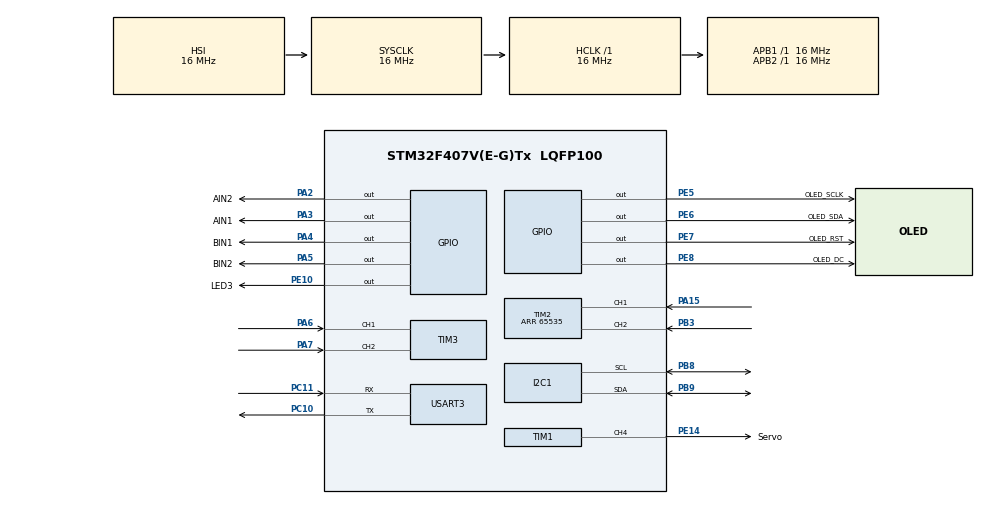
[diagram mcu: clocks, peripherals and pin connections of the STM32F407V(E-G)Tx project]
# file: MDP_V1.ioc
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FREERTOS.Queues01=chassisCommandQueue,100,uint32_t,0,Dynamic,NULL,NULL
FREERTOS.Tasks01=defaultTask,24,128,StartDefaultTask,Default,NULL,Dynamic,NULL,NULL;ChassisTask,24,512,chassisTask,Default,NULL,Dynamic,NULL,NULL
FREERTOS.configUSE_NEWLIB_REENTRANT=1
FREERTOS.configUSE_PREEMPTION=0
Mcu.Family=STM32F4
Mcu.Name=STM32F407V(E-G)Tx
Mcu.Package=LQFP100
NVIC.PriorityGroup=NVIC_PRIORITYGROUP_4
NVIC.TIM7_IRQn=true\:15\:0\:false\:false\:true\:false\:false\:true\:true
NVIC.TimeBase=TIM7_IRQn
NVIC.TimeBaseIP=TIM7
NVIC.USART3_IRQn=true\:5\:0\:false\:false\:true\:true\:true\:true\:true
PA15.Signal=S_TIM2_CH1_ETR
PA2.GPIO_Label=AIN2
PA2.GPIO_Speed=GPIO_SPEED_FREQ_HIGH
PA2.Signal=GPIO_Output
PA3.GPIO_Label=AIN1
PA3.GPIO_Speed=GPIO_SPEED_FREQ_HIGH
PA3.Signal=GPIO_Output
PA4.GPIO_Label=BIN1
PA4.GPIO_Speed=GPIO_SPEED_FREQ_HIGH
PA4.Signal=GPIO_Output
PA5.GPIO_Label=BIN2
PA5.GPIO_Speed=GPIO_SPEED_FREQ_HIGH
PA5.Signal=GPIO_Output
PA6.Signal=S_TIM3_CH1
PA7.Signal=S_TIM3_CH2
PB3.Signal=S_TIM2_CH2
PB8.Mode=I2C
PB8.Signal=I2C1_SCL
PB9.Mode=I2C
PB9.Signal=I2C1_SDA
PC10.GPIO_Speed=GPIO_SPEED_FREQ_HIGH
PC10.Mode=Asynchronous
PC10.Signal=USART3_TX
PC11.GPIO_ModeDefaultPP=GPIO_MODE_AF_PP
PC11.GPIO_PuPd=GPIO_PULLDOWN
PC11.GPIO_Speed=GPIO_SPEED_FREQ_HIGH
PC11.Mode=Asynchronous
PC11.Signal=USART3_RX
PC6.GPIO_Label=PWMA
PC6.Signal=S_TIM8_CH1
PC7.GPIO_Label=PWMB
PC7.Signal=S_TIM8_CH2
PE10.GPIO_Label=LED3
PE10.Signal=GPIO_Output
PE14.GPIO_Label=Servo
PE14.Signal=S_TIM1_CH4
PE5.GPIO_Label=OLED_SCLK
PE5.Signal=GPIO_Output
PE6.GPIO_Label=OLED_SDA
PE6.Signal=GPIO_Output
PE7.GPIO_Label=OLED_RST
PE7.Signal=GPIO_Output
PE8.GPIO_Label=OLED_DC
PE8.Signal=GPIO_Output
ProjectManager.HeapSize=0x200
ProjectManager.StackSize=0x400
ProjectManager.TargetToolchain=STM32CubeIDE
RCC.48MHZClocksFreq_Value=48000000
RCC.AHBFreq_Value=16000000
RCC.APB1Freq_Value=16000000
RCC.APB1TimFreq_Value=16000000
RCC.APB2Freq_Value=16000000
RCC.APB2TimFreq_Value=16000000
RCC.CortexFreq_Value=16000000
RCC.HCLKFreq_Value=16000000
RCC.HSE_VALUE=8000000
RCC.HSI_VALUE=16000000
RCC.LSE_VALUE=32768
RCC.SYSCLKFreq_VALUE=16000000
RCC.VCOOutputFreq_Value=192000000
SH.S_TIM1_CH4.0=TIM1_CH4,PWM Generation4 CH4
SH.S_TIM2_CH1_ETR.0=TIM2_CH1,Encoder_Interface
SH.S_TIM2_CH2.0=TIM2_CH2,Encoder_Interface
SH.S_TIM3_CH1.0=TIM3_CH1,Encoder_Interface
SH.S_TIM3_CH2.0=TIM3_CH2,Encoder_Interface
SH.S_TIM8_CH1.0=TIM8_CH1
SH.S_TIM8_CH2.0=TIM8_CH2
TIM1.AutoReloadPreload=TIM_AUTORELOAD_PRELOAD_ENABLE
TIM1.Channel-Input_Capture3_from_TI3=TIM_CHANNEL_3
TIM1.Channel-PWM\ Generation4\ CH4=TIM_CHANNEL_4
TIM1.Period=1000
TIM1.Prescaler=160
TIM2.EncoderMode=TIM_ENCODERMODE_TI12
TIM2.IC1Filter=10
TIM2.Period=65535
TIM3.EncoderMode=TIM_ENCODERMODE_TI12
TIM3.IC1Filter=10
TIM8.Channel-PWM\ Generation1\ No\ Output=TIM_CHANNEL_1
TIM8.Channel-PWM\ Generation2\ No\ Output=TIM_CHANNEL_2
TIM8.Period=7199
USART3.VirtualMode=VM_ASYNC
VP_FREERTOS_VS_CMSIS_V2.Mode=CMSIS_V2
VP_SYS_VS_tim7.Mode=TIM7
VP_TIM1_VS_ClockSourceINT.Mode=Internal
VP_TIM8_VS_ClockSourceINT.Mode=Internal
VP_TIM8_VS_no_output1.Mode=PWM Generation1 No Output
VP_TIM8_VS_no_output2.Mode=PWM Generation2 No Output
board=custom

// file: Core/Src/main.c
/* USER CODE BEGIN Header */
/**
 ******************************************************************************
 * @file           : main.c
 * @brief          : Main program body
 ******************************************************************************
 * @attention
 *
 * Copyright (c) 2023 STMicroelectronics.
 * All rights reserved.
 *
 * This software is licensed under terms that can be found in the LICENSE file
 * in the root directory of this software component.
 * If no LICENSE file comes with this software, it is provided AS-IS.
 *
 ******************************************************************************
 */
/* USER CODE END Header */
#include "main.h"
#include "cmsis_os.h"

/* USER CODE BEGIN Includes */
#include "oled.h"
#include "string.h"
#include "pid.h"
#include "ICM20948.h"
#include "stdio.h"
#include "stdlib.h"
/* USER CODE END Includes */

/* USER CODE BEGIN PD */
#define ALPHA 0.8
#define REAR_WHEEL_RADIUS_CM 3.3
#define REAR_WHEEL_ROTATION_DISTANCE (2 * 3.142 * REAR_WHEEL_RADIUS_CM)
#define ENCODER_PULSES_PER_ROTATION 1560
#define DISTANCE_PER_ENCODER_PULSE (REAR_WHEEL_ROTATION_DISTANCE / ENCODER_PULSES_PER_ROTATION)

////////// Steering Wheels ////////////////

#define CENTER_POS_PWM 153 //150
#define LEFT_DELTA 40  // was 40
#define RIGHT_DELTA 90 // was 80 then 100
#define STEERING_BUFFER_TIME 250
#define LEFT_POS_PWM (CENTER_POS_PWM - LEFT_DELTA)
#define RIGHT_POS_PWM (CENTER_POS_PWM + RIGHT_DELTA)

///////////// MOVEMENT COMMANDS ////////////
#define MOVE_FORWARD 1
#define MOVE_BACKWARD 2
#define MOVE_FORWARD_LEFT 3
#define MOVE_BACKWARD_LEFT 4
#define MOVE_FORWARD_RIGHT 5
#define MOVE_BACKWARD_RIGHT 6
#define CENTER_CALIBRATION 7
#define MOVE_INFINITELY 8
/* USER CODE END PD */

/* USER CODE BEGIN PM */
void setMotorForward();
void setMotorBackward();
void moveMotor(int);
void motorStop();
void turnLeft();
void turnRight();
void faceFront();
uint32_t getEncoderDelta(uint32_t count1, uint32_t count2,
		TIM_HandleTypeDef *hal_tim);
void commandToEncoderCounts(int directionCmd, int distanceCmd);
/* USER CODE END PM */

I2C_HandleTypeDef hi2c1;

TIM_HandleTypeDef htim1;
TIM_HandleTypeDef htim2;
TIM_HandleTypeDef htim3;
TIM_HandleTypeDef htim8;

UART_HandleTypeDef huart3;

/* Definitions for defaultTask */
osThreadId_t defaultTaskHandle;
const osThreadAttr_t defaultTask_attributes = { .name = "defaultTask",
		.stack_size = 128 * 4, .priority = (osPriority_t) osPriorityNormal, };
/* Definitions for ChassisTask */
osThreadId_t ChassisTaskHandle;
const osThreadAttr_t ChassisTask_attributes = { .name = "ChassisTask",
		.stack_size = 512 * 4, .priority = (osPriority_t) osPriorityNormal, };
/* Definitions for chassisCommandQueue */
osMessageQueueId_t chassisCommandQueueHandle;
const osMessageQueueAttr_t chassisCommandQueue_attributes = { .name =
		"chassisCommandQueue" };
/* USER CODE BEGIN PV */

///////////// TRANSMISSION AND COMMAND PROCESSING /////////////
uint8_t aRxBuffer[5]; // buffer for UART
uint8_t newCmdReceived;
uint8_t directionCmd;
uint8_t steeringCmd;
uint32_t data = 0;
uint8_t cmdFinishFlag;
////////////////////////////////////////

///////////// GYRO STEERING /////////////
float targetAngle = 0;
float angleNow = 0;
uint8_t readGyroZData[2];
int16_t gyroZ;
uint32_t last_curTask_tick = 0;

///////////// PID CONTROLLER /////////////
fp32 pid_param_right[3] = { 3.1, 0.0, 0.1 };
fp32 pid_param_turn[3] = { 10, 0.15, 0.3 }; // used for PID steering (not as accurate as Gyro but quicker)
fp32 max_out = 4000;
fp32 max_out_turn = 5000;
fp32 max_iout = 3000;
volatile double setpoint_left = 0;
volatile double output_left = 0;
volatile double input_left = 0;
volatile double setpoint_right = 0;
volatile double output_right = 0;
volatile double input_right = 0;

/* USER CODE END PV */

void SystemClock_Config(void);
static void MX_GPIO_Init(void);
static void MX_TIM8_Init(void);
static void MX_TIM1_Init(void);
static void MX_TIM2_Init(void);
static void MX_TIM3_Init(void);
static void MX_USART3_UART_Init(void);
static void MX_I2C1_Init(void);
void StartDefaultTask(void *argument);
void chassisTask(void *argument);

/* USER CODE BEGIN 0 */

////////////////////////////////////
// Create PID controllers
pid_type_def left_pid, right_pid;
pid_type_def left_turn_pid, right_turn_pid;

/* USER CODE END 0 */

int main(void) {

	/* MCU Configuration--------------------------------------------------------*/

	/* Reset of all peripherals, Initializes the Flash interface and the Systick. */
	HAL_Init();

	/* USER CODE BEGIN Init */
	OLED_Init();
	PID_init(&left_pid, PID_POSITION, pid_param_right, max_out, max_iout);
	PID_init(&right_pid, PID_POSITION, pid_param_right, max_out, max_iout);

	PID_init(&left_turn_pid, PID_POSITION, pid_param_turn, max_out_turn,
			max_iout);
	PID_init(&right_turn_pid, PID_POSITION, pid_param_turn, max_out_turn,
			max_iout);

	ICM20948_init(&hi2c1, 0, GYRO_FULL_SCALE_2000DPS);
	/* USER CODE END Init */

	/* Configure the system clock */
	SystemClock_Config();

	/* Initialize all configured peripherals */
	MX_GPIO_Init();
	MX_TIM8_Init();
	MX_TIM1_Init();
	MX_TIM2_Init();
	MX_TIM3_Init();
	MX_USART3_UART_Init();
	MX_I2C1_Init();
	/* USER CODE BEGIN 2 */
	OLED_Init();
	HAL_UART_Receive_IT(&huart3, (uint8_t*) aRxBuffer, 10);

	//start pwm
	//servo
	HAL_TIM_PWM_Start(&htim1, TIM_CHANNEL_4);

	// Left Motor Encoder
	HAL_TIM_Encoder_Start(&htim2, TIM_CHANNEL_ALL);
	// Right Motor Encoder
	HAL_TIM_Encoder_Start(&htim3, TIM_CHANNEL_ALL);

	// Set up the Motors PWM
	HAL_TIM_PWM_Start(&htim8, TIM_CHANNEL_1);
	HAL_TIM_PWM_Start(&htim8, TIM_CHANNEL_2);

	/* USER CODE END 2 */

	/* Init scheduler */
	osKernelInitialize();

	/* Create the queue(s) */
	/* creation of chassisCommandQueue */
	chassisCommandQueueHandle = osMessageQueueNew(100, sizeof(uint32_t),
			&chassisCommandQueue_attributes);

	/* Create the thread(s) */
	/* creation of defaultTask */
	defaultTaskHandle = osThreadNew(StartDefaultTask, NULL,
			&defaultTask_attributes);

	/* creation of ChassisTask */
	ChassisTaskHandle = osThreadNew(chassisTask, NULL, &ChassisTask_attributes);

	/* Start scheduler */
	osKernelStart();

	/* We should never get here as control is now taken by the scheduler */
	/* Infinite loop */
	while (1) {

	}
}

void SystemClock_Config(void) {
	RCC_OscInitTypeDef RCC_OscInitStruct = { 0 };
	RCC_ClkInitTypeDef RCC_ClkInitStruct = { 0 };

	/** Configure the main internal regulator output voltage
	 */
	__HAL_RCC_PWR_CLK_ENABLE();
	__HAL_PWR_VOLTAGESCALING_CONFIG(PWR_REGULATOR_VOLTAGE_SCALE1);

	/** Initializes the RCC Oscillators according to the specified parameters
	 * in the RCC_OscInitTypeDef structure.
	 */
	RCC_OscInitStruct.OscillatorType = RCC_OSCILLATORTYPE_HSI;
	RCC_OscInitStruct.HSIState = RCC_HSI_ON;
	RCC_OscInitStruct.HSICalibrationValue = RCC_HSICALIBRATION_DEFAULT;
	RCC_OscInitStruct.PLL.PLLState = RCC_PLL_NONE;
	if (HAL_RCC_OscConfig(&RCC_OscInitStruct) != HAL_OK) {
		Error_Handler();
	}

	/** Initializes the CPU, AHB and APB buses clocks
	 */
	RCC_ClkInitStruct.ClockType = RCC_CLOCKTYPE_HCLK | RCC_CLOCKTYPE_SYSCLK
			| RCC_CLOCKTYPE_PCLK1 | RCC_CLOCKTYPE_PCLK2;
	RCC_ClkInitStruct.SYSCLKSource = RCC_SYSCLKSOURCE_HSI;
	RCC_ClkInitStruct.AHBCLKDivider = RCC_SYSCLK_DIV1;
	RCC_ClkInitStruct.APB1CLKDivider = RCC_HCLK_DIV1;
	RCC_ClkInitStruct.APB2CLKDivider = RCC_HCLK_DIV1;

	if (HAL_RCC_ClockConfig(&RCC_ClkInitStruct, FLASH_LATENCY_0) != HAL_OK) {
		Error_Handler();
	}
}

static void MX_I2C1_Init(void) {

	hi2c1.Instance = I2C1;
	hi2c1.Init.ClockSpeed = 100000;
	hi2c1.Init.DutyCycle = I2C_DUTYCYCLE_2;
	hi2c1.Init.OwnAddress1 = 0;
	hi2c1.Init.AddressingMode = I2C_ADDRESSINGMODE_7BIT;
	hi2c1.Init.DualAddressMode = I2C_DUALADDRESS_DISABLE;
	hi2c1.Init.OwnAddress2 = 0;
	hi2c1.Init.GeneralCallMode = I2C_GENERALCALL_DISABLE;
	hi2c1.Init.NoStretchMode = I2C_NOSTRETCH_DISABLE;
	if (HAL_I2C_Init(&hi2c1) != HAL_OK) {
		Error_Handler();
	}

}

static void MX_TIM1_Init(void) {

	TIM_ClockConfigTypeDef sClockSourceConfig = { 0 };
	TIM_MasterConfigTypeDef sMasterConfig = { 0 };
	TIM_OC_InitTypeDef sConfigOC = { 0 };
	TIM_BreakDeadTimeConfigTypeDef sBreakDeadTimeConfig = { 0 };

	htim1.Instance = TIM1;
	htim1.Init.Prescaler = 160;
	htim1.Init.CounterMode = TIM_COUNTERMODE_UP;
	htim1.Init.Period = 1000;
	htim1.Init.ClockDivision = TIM_CLOCKDIVISION_DIV1;
	htim1.Init.RepetitionCounter = 0;
	htim1.Init.AutoReloadPreload = TIM_AUTORELOAD_PRELOAD_ENABLE;
	if (HAL_TIM_Base_Init(&htim1) != HAL_OK) {
		Error_Handler();
	}
	sClockSourceConfig.ClockSource = TIM_CLOCKSOURCE_INTERNAL;
	if (HAL_TIM_ConfigClockSource(&htim1, &sClockSourceConfig) != HAL_OK) {
		Error_Handler();
	}
	if (HAL_TIM_PWM_Init(&htim1) != HAL_OK) {
		Error_Handler();
	}
	sMasterConfig.MasterOutputTrigger = TIM_TRGO_RESET;
	sMasterConfig.MasterSlaveMode = TIM_MASTERSLAVEMODE_DISABLE;
	if (HAL_TIMEx_MasterConfigSynchronization(&htim1, &sMasterConfig)
			!= HAL_OK) {
		Error_Handler();
	}
	sConfigOC.OCMode = TIM_OCMODE_PWM1;
	sConfigOC.Pulse = 0;
	sConfigOC.OCPolarity = TIM_OCPOLARITY_HIGH;
	sConfigOC.OCFastMode = TIM_OCFAST_DISABLE;
	sConfigOC.OCIdleState = TIM_OCIDLESTATE_RESET;
	sConfigOC.OCNIdleState = TIM_OCNIDLESTATE_RESET;
	if (HAL_TIM_PWM_ConfigChannel(&htim1, &sConfigOC, TIM_CHANNEL_4)
			!= HAL_OK) {
		Error_Handler();
	}
	sBreakDeadTimeConfig.OffStateRunMode = TIM_OSSR_DISABLE;
	sBreakDeadTimeConfig.OffStateIDLEMode = TIM_OSSI_DISABLE;
	sBreakDeadTimeConfig.LockLevel = TIM_LOCKLEVEL_OFF;
	sBreakDeadTimeConfig.DeadTime = 0;
	sBreakDeadTimeConfig.BreakState = TIM_BREAK_DISABLE;
	sBreakDeadTimeConfig.BreakPolarity = TIM_BREAKPOLARITY_HIGH;
	sBreakDeadTimeConfig.AutomaticOutput = TIM_AUTOMATICOUTPUT_DISABLE;
	if (HAL_TIMEx_ConfigBreakDeadTime(&htim1, &sBreakDeadTimeConfig)
			!= HAL_OK) {
		Error_Handler();
	}
	HAL_TIM_MspPostInit(&htim1);

}

static void MX_TIM2_Init(void) {

	TIM_Encoder_InitTypeDef sConfig = { 0 };
	TIM_MasterConfigTypeDef sMasterConfig = { 0 };

	htim2.Instance = TIM2;
	htim2.Init.Prescaler = 0;
	htim2.Init.CounterMode = TIM_COUNTERMODE_UP;
	htim2.Init.Period = 65535;
	htim2.Init.ClockDivision = TIM_CLOCKDIVISION_DIV1;
	htim2.Init.AutoReloadPreload = TIM_AUTORELOAD_PRELOAD_DISABLE;
	sConfig.EncoderMode = TIM_ENCODERMODE_TI12;
	sConfig.IC1Polarity = TIM_ICPOLARITY_RISING;
	sConfig.IC1Selection = TIM_ICSELECTION_DIRECTTI;
	sConfig.IC1Prescaler = TIM_ICPSC_DIV1;
	sConfig.IC1Filter = 10;
	sConfig.IC2Polarity = TIM_ICPOLARITY_RISING;
	sConfig.IC2Selection = TIM_ICSELECTION_DIRECTTI;
	sConfig.IC2Prescaler = TIM_ICPSC_DIV1;
	sConfig.IC2Filter = 0;
	if (HAL_TIM_Encoder_Init(&htim2, &sConfig) != HAL_OK) {
		Error_Handler();
	}
	sMasterConfig.MasterOutputTrigger = TIM_TRGO_RESET;
	sMasterConfig.MasterSlaveMode = TIM_MASTERSLAVEMODE_DISABLE;
	if (HAL_TIMEx_MasterConfigSynchronization(&htim2, &sMasterConfig)
			!= HAL_OK) {
		Error_Handler();
	}

}

static void MX_TIM3_Init(void) {

	TIM_Encoder_InitTypeDef sConfig = { 0 };
	TIM_MasterConfigTypeDef sMasterConfig = { 0 };

	htim3.Instance = TIM3;
	htim3.Init.Prescaler = 0;
	htim3.Init.CounterMode = TIM_COUNTERMODE_UP;
	htim3.Init.Period = 65535;
	htim3.Init.ClockDivision = TIM_CLOCKDIVISION_DIV1;
	htim3.Init.AutoReloadPreload = TIM_AUTORELOAD_PRELOAD_DISABLE;
	sConfig.EncoderMode = TIM_ENCODERMODE_TI12;
	sConfig.IC1Polarity = TIM_ICPOLARITY_RISING;
	sConfig.IC1Selection = TIM_ICSELECTION_DIRECTTI;
	sConfig.IC1Prescaler = TIM_ICPSC_DIV1;
	sConfig.IC1Filter = 10;
	sConfig.IC2Polarity = TIM_ICPOLARITY_RISING;
	sConfig.IC2Selection = TIM_ICSELECTION_DIRECTTI;
	sConfig.IC2Prescaler = TIM_ICPSC_DIV1;
	sConfig.IC2Filter = 0;
	if (HAL_TIM_Encoder_Init(&htim3, &sConfig) != HAL_OK) {
		Error_Handler();
	}
	sMasterConfig.MasterOutputTrigger = TIM_TRGO_RESET;
	sMasterConfig.MasterSlaveMode = TIM_MASTERSLAVEMODE_DISABLE;
	if (HAL_TIMEx_MasterConfigSynchronization(&htim3, &sMasterConfig)
			!= HAL_OK) {
		Error_Handler();
	}

}

static void MX_TIM8_Init(void) {

	TIM_ClockConfigTypeDef sClockSourceConfig = { 0 };
	TIM_MasterConfigTypeDef sMasterConfig = { 0 };
	TIM_OC_InitTypeDef sConfigOC = { 0 };
	TIM_BreakDeadTimeConfigTypeDef sBreakDeadTimeConfig = { 0 };

	htim8.Instance = TIM8;
	htim8.Init.Prescaler = 0;
	htim8.Init.CounterMode = TIM_COUNTERMODE_UP;
	htim8.Init.Period = 7199;
	htim8.Init.ClockDivision = TIM_CLOCKDIVISION_DIV1;
	htim8.Init.RepetitionCounter = 0;
	htim8.Init.AutoReloadPreload = TIM_AUTORELOAD_PRELOAD_DISABLE;
	if (HAL_TIM_Base_Init(&htim8) != HAL_OK) {
		Error_Handler();
	}
	sClockSourceConfig.ClockSource = TIM_CLOCKSOURCE_INTERNAL;
	if (HAL_TIM_ConfigClockSource(&htim8, &sClockSourceConfig) != HAL_OK) {
		Error_Handler();
	}
	if (HAL_TIM_PWM_Init(&htim8) != HAL_OK) {
		Error_Handler();
	}
	sMasterConfig.MasterOutputTrigger = TIM_TRGO_RESET;
	sMasterConfig.MasterSlaveMode = TIM_MASTERSLAVEMODE_DISABLE;
	if (HAL_TIMEx_MasterConfigSynchronization(&htim8, &sMasterConfig)
			!= HAL_OK) {
		Error_Handler();
	}
	sConfigOC.OCMode = TIM_OCMODE_PWM1;
	sConfigOC.Pulse = 0;
	sConfigOC.OCPolarity = TIM_OCPOLARITY_HIGH;
	sConfigOC.OCNPolarity = TIM_OCNPOLARITY_HIGH;
	sConfigOC.OCFastMode = TIM_OCFAST_DISABLE;
	sConfigOC.OCIdleState = TIM_OCIDLESTATE_RESET;
	sConfigOC.OCNIdleState = TIM_OCNIDLESTATE_RESET;
	if (HAL_TIM_PWM_ConfigChannel(&htim8, &sConfigOC, TIM_CHANNEL_1)
			!= HAL_OK) {
		Error_Handler();
	}
	if (HAL_TIM_PWM_ConfigChannel(&htim8, &sConfigOC, TIM_CHANNEL_2)
			!= HAL_OK) {
		Error_Handler();
	}
	sBreakDeadTimeConfig.OffStateRunMode = TIM_OSSR_DISABLE;
	sBreakDeadTimeConfig.OffStateIDLEMode = TIM_OSSI_DISABLE;
	sBreakDeadTimeConfig.LockLevel = TIM_LOCKLEVEL_OFF;
	sBreakDeadTimeConfig.DeadTime = 0;
	sBreakDeadTimeConfig.BreakState = TIM_BREAK_DISABLE;
	sBreakDeadTimeConfig.BreakPolarity = TIM_BREAKPOLARITY_HIGH;
	sBreakDeadTimeConfig.AutomaticOutput = TIM_AUTOMATICOUTPUT_DISABLE;
	if (HAL_TIMEx_ConfigBreakDeadTime(&htim8, &sBreakDeadTimeConfig)
			!= HAL_OK) {
		Error_Handler();
	}

}

static void MX_USART3_UART_Init(void) {

	huart3.Instance = USART3;
	huart3.Init.BaudRate = 115200;
	huart3.Init.WordLength = UART_WORDLENGTH_8B;
	huart3.Init.StopBits = UART_STOPBITS_1;
	huart3.Init.Parity = UART_PARITY_NONE;
	huart3.Init.Mode = UART_MODE_TX_RX;
	huart3.Init.HwFlowCtl = UART_HWCONTROL_NONE;
	huart3.Init.OverSampling = UART_OVERSAMPLING_16;
	if (HAL_UART_Init(&huart3) != HAL_OK) {
		Error_Handler();
	}

}

static void MX_GPIO_Init(void) {
	GPIO_InitTypeDef GPIO_InitStruct = { 0 };

	/* GPIO Ports Clock Enable */
	__HAL_RCC_GPIOE_CLK_ENABLE();
	__HAL_RCC_GPIOA_CLK_ENABLE();
	__HAL_RCC_GPIOC_CLK_ENABLE();
	__HAL_RCC_GPIOB_CLK_ENABLE();

	/*Configure GPIO pin Output Level */
	HAL_GPIO_WritePin(GPIOE,
			OLED_SCLK_Pin | OLED_SDA_Pin | OLED_RST_Pin | OLED_DC_Pin | LED3_Pin,
			GPIO_PIN_RESET);

	/*Configure GPIO pin Output Level */
	HAL_GPIO_WritePin(GPIOA, AIN2_Pin | AIN1_Pin | BIN1_Pin | BIN2_Pin,
			GPIO_PIN_RESET);

	/*Configure GPIO pins : OLED_SCLK_Pin OLED_SDA_Pin OLED_RST_Pin OLED_DC_Pin
	 LED3_Pin */
	GPIO_InitStruct.Pin = OLED_SCLK_Pin | OLED_SDA_Pin | OLED_RST_Pin
			| OLED_DC_Pin | LED3_Pin;
	GPIO_InitStruct.Mode = GPIO_MODE_OUTPUT_PP;
	GPIO_InitStruct.Pull = GPIO_NOPULL;
	GPIO_InitStruct.Speed = GPIO_SPEED_FREQ_LOW;
	HAL_GPIO_Init(GPIOE, &GPIO_InitStruct);

	/*Configure GPIO pins : AIN2_Pin AIN1_Pin BIN1_Pin BIN2_Pin */
	GPIO_InitStruct.Pin = AIN2_Pin | AIN1_Pin | BIN1_Pin | BIN2_Pin;
	GPIO_InitStruct.Mode = GPIO_MODE_OUTPUT_PP;
	GPIO_InitStruct.Pull = GPIO_NOPULL;
	GPIO_InitStruct.Speed = GPIO_SPEED_FREQ_HIGH;
	HAL_GPIO_Init(GPIOA, &GPIO_InitStruct);

}

/* USER CODE BEGIN 4 */
void HAL_UART_RxCpltCallback(UART_HandleTypeDef *huart) {

	uint32_t cmd = 0;
	if (huart == &huart3) {
		char c1 = aRxBuffer[0];
		char c2 = aRxBuffer[1];
		// char c3 = aRxBuffer[2];
		char d[4];
		memcpy(d, (void*) &aRxBuffer[2], 3);
		d[3] = '\0';

		data = (uint32_t) atoi(d);
		if (c1 == 'n') {
			newCmdReceived = 1;

		}
		directionCmd = c2;
		// steeringCmd = c3;
		uint8_t message1[20];

		sprintf(message1, "cmd:%c,%d", directionCmd, data);
		OLED_ShowString(10, 10, message1);

		if (newCmdReceived == 1) {
			// load direction Cmd and distance data into the queue using the cmd variable
			// w = 1, a = 2, s = 3, d = 4
			if (directionCmd == 'w')
				cmd = MOVE_FORWARD;
			else if (directionCmd == 'q')
				cmd = MOVE_FORWARD_LEFT;
			else if (directionCmd == 'e')
				cmd = MOVE_FORWARD_RIGHT;
			else if (directionCmd == 'x')
				cmd = MOVE_BACKWARD;
			else if (directionCmd == 'z')
				cmd = MOVE_BACKWARD_LEFT;
			else if (directionCmd == 'c')
				cmd = MOVE_BACKWARD_RIGHT;
			else if (directionCmd == 's')
				cmd = CENTER_CALIBRATION;
			else if (directionCmd == 'u') {
				cmd = MOVE_INFINITELY;
			} else
				cmd = 0;
			cmd = cmd * 1000 + data;

			// enqueue the command
			osStatus_t status = osMessageQueuePut(chassisCommandQueueHandle,
					&cmd, 0, 0);

			HAL_UART_Transmit(&huart3, (uint8_t*) "ACK", 3, 100);

			// for debugging
			// if (status == osOK) {
			//sprintf(message1, "cmd: %d", cmd);
			//OLED_ShowString(10, 40, message1);

			/*} else if (status == osErrorTimeout) {
			 sprintf(message1, "TIMEOUT");
			 OLED_ShowString(10, 40, message1);
			 } else if (status == osErrorResource) {
			 sprintf(message1, "RESOURCE");
			 OLED_ShowString(10, 40, message1);
			 } else if (status == osErrorParameter) {
			 sprintf(message1, "Param");
			 OLED_ShowString(10, 40, message1);
			 } else {
			 sprintf(message1, "OTHER");
			 OLED_ShowString(10, 40, message1);
			 }
			 */
		}
		HAL_UART_Receive_IT(&huart3, (uint8_t*) aRxBuffer, 5);
	}
}

//////////////////// Movement Helper Function ////////////////////
void setLeftPWM(uint16_t dutyCycle) {
	__HAL_TIM_SET_COMPARE(&htim8, TIM_CHANNEL_1, dutyCycle);
}

void setRightPWM(uint16_t dutyCycle) {
	__HAL_TIM_SET_COMPARE(&htim8, TIM_CHANNEL_2, dutyCycle);
}

void motorStop() {
	// ------- left motor
	HAL_GPIO_WritePin(GPIOA, BIN2_Pin, GPIO_PIN_RESET);
	HAL_GPIO_WritePin(GPIOA, BIN1_Pin, GPIO_PIN_RESET);
	// ------- right motor
	HAL_GPIO_WritePin(GPIOA, AIN2_Pin, GPIO_PIN_RESET);
	HAL_GPIO_WritePin(GPIOA, AIN1_Pin, GPIO_PIN_RESET);
}
void moveMotor(int direction) // 0 is forward, 1 is backward
{
	// start the PWM
	HAL_TIM_PWM_Start(&htim8, TIM_CHANNEL_1);
	HAL_TIM_PWM_Start(&htim8, TIM_CHANNEL_2);

	if (direction == 0) {
		// ------- left motor
		HAL_GPIO_WritePin(GPIOA, BIN2_Pin, GPIO_PIN_RESET);
		HAL_GPIO_WritePin(GPIOA, BIN1_Pin, GPIO_PIN_SET);
		// ------- right motor
		HAL_GPIO_WritePin(GPIOA, AIN2_Pin, GPIO_PIN_RESET);
		HAL_GPIO_WritePin(GPIOA, AIN1_Pin, GPIO_PIN_SET);
		// drive the motor
		setLeftPWM(3150);
		setRightPWM(3000);
	} else {
		// ------- left motor
		HAL_GPIO_WritePin(GPIOA, BIN2_Pin, GPIO_PIN_SET);
		HAL_GPIO_WritePin(GPIOA, BIN1_Pin, GPIO_PIN_RESET);
		// ------- right motor
		HAL_GPIO_WritePin(GPIOA, AIN2_Pin, GPIO_PIN_SET);
		HAL_GPIO_WritePin(GPIOA, AIN1_Pin, GPIO_PIN_RESET);
		// drive the motor
		setLeftPWM(3150);
		setRightPWM(3000);
	}

}

void setMotorForward() {
	// set motor direction
	// ------- left motor
	HAL_GPIO_WritePin(GPIOA, BIN2_Pin, GPIO_PIN_RESET);
	HAL_GPIO_WritePin(GPIOA, BIN1_Pin, GPIO_PIN_SET);
	// ------- right motor
	HAL_GPIO_WritePin(GPIOA, AIN2_Pin, GPIO_PIN_RESET);
	HAL_GPIO_WritePin(GPIOA, AIN1_Pin, GPIO_PIN_SET);
}
void setMotorBackward() {
	// set motor direction
	// ------- left motor
	HAL_GPIO_WritePin(GPIOA, BIN2_Pin, GPIO_PIN_SET);
	HAL_GPIO_WritePin(GPIOA, BIN1_Pin, GPIO_PIN_RESET);
	// ------- right motor
	HAL_GPIO_WritePin(GPIOA, AIN2_Pin, GPIO_PIN_SET);
	HAL_GPIO_WritePin(GPIOA, AIN1_Pin, GPIO_PIN_RESET);
}
void turnLeft() {
	htim1.Instance->CCR4 = LEFT_POS_PWM;
	osDelay(STEERING_BUFFER_TIME);
}
void turnRight() {
	htim1.Instance->CCR4 = RIGHT_POS_PWM;
	osDelay(STEERING_BUFFER_TIME);
}
void faceFront() {
	htim1.Instance->CCR4 = CENTER_POS_PWM;
	osDelay(STEERING_BUFFER_TIME);
}

void calibrate() {
	htim1.Instance->CCR4 = RIGHT_POS_PWM;
	osDelay(STEERING_BUFFER_TIME);
}

void robotTurn(float *targetAngle) {
	*targetAngle = 4 * (*targetAngle);
	angleNow = 0;
	gyroZ = 0;
	last_curTask_tick = HAL_GetTick();
	do {
		if (HAL_GetTick() - last_curTask_tick >= 10) { // sample gyro every 10ms
			__Gyro_Read_Z(&hi2c1, readGyroZData, gyroZ);
			angleNow += gyroZ / GRYO_SENSITIVITY_SCALE_FACTOR_2000DPS * 0.01;
			if (abs(angleNow - *targetAngle) < 0.1)
				break;
			last_curTask_tick = HAL_GetTick();
		}
	} while (1);
	*targetAngle = 0;
	setLeftPWM(0);
	setRightPWM(0);
	calibrate();
}

// ENCODER HELPER FUNCTIONS

uint32_t getEncoderDelta(uint32_t count1, uint32_t count2,
		TIM_HandleTypeDef *htim) {
	if (__HAL_TIM_IS_TIM_COUNTING_DOWN(htim)) {
		if (count2 <= count1) {
			return count1 - count2;
		} else {
			return (65535 - count2) + count1;
		}
	} else {
		if (count2 >= count1) {
			return count2 - count1;
		} else {
			return (65535 - count1) + count2;
		}
	}
}

void robotTurnPID(float *targetAngle, int direction) {
	*targetAngle = 4 * (*targetAngle);
	angleNow = 0;
	gyroZ = 0;
	last_curTask_tick = HAL_GetTick();
	float kp = 0.1; // Proportional gain. You can tune this value for better performance.
	float ki = 0.05;
	float kd = 0.1;
	uint16_t maxDutyCycle = 3000; // Maximum duty cycle value for your motors.
	float error_sum = 0;
	float last_error = 0;

	do {
		if (HAL_GetTick() - last_curTask_tick >= 10) { // sample gyro every 10ms
			__Gyro_Read_Z(&hi2c1, readGyroZData, gyroZ);
			angleNow += fabs(gyroZ)
					/ GRYO_SENSITIVITY_SCALE_FACTOR_2000DPS * 0.01;
			float error = fabs(*targetAngle) - fabs(angleNow);
			error_sum += error;
			float error_derivative = error - last_error;
			float motorSpeed = kp * error + ki * error_sum
					+ kd * error_derivative;

			// Convert motorSpeed to dutyCycle and ensure it's within the allowed range
			uint16_t dutyCycle = (uint16_t) (fabs(motorSpeed) * maxDutyCycle);
			if (dutyCycle > maxDutyCycle)
				dutyCycle = maxDutyCycle;

			if (direction == 0) { // Turning left
				setLeftPWM(0);
				setRightPWM(dutyCycle);
			} else if (direction == 1) { // Turning right
				setLeftPWM(dutyCycle);
				setRightPWM(0);
			}

			if (abs(error) < 0.1) {
				break;
			}
			last_error = error;
			last_curTask_tick = HAL_GetTick();
		}
	} while (1);

	*targetAngle = 0;
	setLeftPWM(0);
	setRightPWM(0);
	calibrate();
}

////////////////////////////////////////

/* USER CODE END 4 */

void StartDefaultTask(void *argument) {
	/* USER CODE BEGIN 5 */
	/* Infinite loop */
	for (;;) {
		// Toggle LED just to see if the code is running
		HAL_GPIO_TogglePin(LED3_GPIO_Port, LED3_Pin);
		OLED_Refresh_Gram(); // Refresh Ram
		osDelay(50);
	}
	/* USER CODE END 5 */
}

void chassisTask(void *argument) {
	/* USER CODE BEGIN chassisTask */
	uint32_t encoder_A_count1 = 0, encoder_A_count2 = 0, encoder_A_count_delta =
			0, encoder_B_count1 = 0, encoder_B_count2 = 0,
			encoder_B_count_delta = 0;

	uint8_t message1[20];
	uint32_t current_cmd = 0;

	//Rpi transmit buffer
	uint8_t RpiBuffer[20] = "COMPLE\r\n";

	// toMove Flag
	int toMove = 0;
	// disconnect the motor first
	//motorStop();
	faceFront();

	// set initial values for count and ticks for both encoders
	encoder_A_count1 = (uint32_t) __HAL_TIM_GET_COUNTER(&htim2);
	encoder_B_count1 = (uint32_t) __HAL_TIM_GET_COUNTER(&htim3);

	/* Infinite loop */
	for (;;) {
		int8_t directionCmdBuffer;
		int16_t distanceCmdBuffer;

		if (!toMove) {
			// decompose commands
			osMessageQueueGet(chassisCommandQueueHandle, &current_cmd, 0, 200);
			if (current_cmd != 0) {
				cmdFinishFlag = 1;
			}
			sprintf(message1, "ACK: %d", current_cmd);

			OLED_ShowString(10, 20, message1);

			uint8_t directionCmd = current_cmd / 1000;
			uint16_t distanceCmd = current_cmd % 1000;
			directionCmdBuffer = directionCmd;
			distanceCmdBuffer = distanceCmd;
			sprintf(message1, "dis: %d", distanceCmdBuffer);
			OLED_ShowString(10, 40, message1);

			if (directionCmd == MOVE_INFINITELY) {
				moveMotor(distanceCmd);
			} else {
				// set motor directions and top speed
				if (directionCmd == MOVE_BACKWARD
						|| directionCmd == MOVE_BACKWARD_LEFT
						|| directionCmd == MOVE_BACKWARD_RIGHT) {
					setMotorBackward();
					max_out = 4000;

				} else {
					setMotorForward();
					max_out = 4000;
				}
				// set servo direction
				if (directionCmd == MOVE_FORWARD_LEFT
						|| directionCmd == MOVE_BACKWARD_LEFT) {
					turnLeft();
				} else if (directionCmd == MOVE_FORWARD_RIGHT
						|| directionCmd == MOVE_BACKWARD_RIGHT) {
					turnRight();
				} else if (directionCmd == CENTER_CALIBRATION) {
					calibrate();
				} else {
					faceFront();
				}

				// setpoint calculation (PID steering involved)
				if (directionCmd == MOVE_BACKWARD_LEFT
						|| directionCmd == MOVE_FORWARD_LEFT) {
					setpoint_right = (((double) distanceCmd / 360) * 2 * 3.142 // was 25.5 (dependent on turning radius)
							* (16.5 + 16.5)) / DISTANCE_PER_ENCODER_PULSE;
					setpoint_left = (((double) distanceCmd / 360) * 2 * 3.142
							* (16.5)) / DISTANCE_PER_ENCODER_PULSE;
				} else if (directionCmd == MOVE_FORWARD_RIGHT
						|| directionCmd == MOVE_BACKWARD_RIGHT) {
					setpoint_left = (((double) distanceCmd / 360) * 2 * 3.142
							* (16.5 + 26.5)) / DISTANCE_PER_ENCODER_PULSE; // was 27.3
					setpoint_right = (((double) distanceCmd / 360) * 2 * 3.142
							* (26.5)) / DISTANCE_PER_ENCODER_PULSE;

				} else {
					setpoint_left = ((double) distanceCmd)
							/ DISTANCE_PER_ENCODER_PULSE;
					setpoint_right = setpoint_left;
				}

				// reset other variables
				input_left = 0;
				output_left = 0;
				input_right = 0;
				output_right = 0;

				// reset encoder value
				encoder_A_count1 = (uint32_t) __HAL_TIM_GET_COUNTER(&htim2);
				encoder_B_count1 = (uint32_t) __HAL_TIM_GET_COUNTER(&htim3);

				// set toMove flag
				toMove = 1;
			}
		}

		if (toMove) {

			int left_complete = 0;
			int right_complete = 0;
			// get current encoder count and ticks
			encoder_A_count2 = (uint32_t) __HAL_TIM_GET_COUNTER(&htim2);
			encoder_B_count2 = (uint32_t) __HAL_TIM_GET_COUNTER(&htim3);

			// calculate the encoder count
			encoder_A_count_delta = getEncoderDelta(encoder_A_count1,
					encoder_A_count2, &htim2);
			encoder_B_count_delta = getEncoderDelta(encoder_B_count1,
					encoder_B_count2, &htim3);

			input_left += (double) encoder_A_count_delta;
			input_right += (double) encoder_B_count_delta;

			if (directionCmdBuffer == MOVE_BACKWARD
					|| directionCmdBuffer == MOVE_FORWARD) {

				// if setpoint too small, PID won't work, use open-loop
				if (distanceCmdBuffer >= 10) {

					output_right = PID_calc(&right_pid, input_right,
							setpoint_right);
					output_left = PID_calc(&left_pid, input_left,
							setpoint_right);

					/*output_left = 2200;
					 output_right = 2000;*/
				} else {
					output_left = 1500;
					output_right = 1500;
				}
			} else {

				if (directionCmdBuffer == MOVE_FORWARD_LEFT) {
					targetAngle = distanceCmdBuffer; // dont know why need to *4, probably different IMU model freq
					setLeftPWM(1000); // was 1000, 2000
					setRightPWM(2000);
					//robotTurnPID(&targetAngle, 0);
					robotTurn(&targetAngle);
				} else if (directionCmdBuffer == MOVE_FORWARD_RIGHT) {
					targetAngle = -distanceCmdBuffer;
					//targetAngle = distanceCmdBuffer;
					setLeftPWM(2000);
					setRightPWM(1000);
					//robotTurnPID(&targetAngle, 1);
					robotTurn(&targetAngle);
				} else if (directionCmdBuffer == MOVE_BACKWARD_LEFT) {
					targetAngle = -distanceCmdBuffer;
					setLeftPWM(1000);
					setRightPWM(2000);
					robotTurn(&targetAngle);
				} else if (directionCmdBuffer == MOVE_BACKWARD_RIGHT) {
					targetAngle = distanceCmdBuffer;
					setLeftPWM(2000);
					setRightPWM(1000);
					robotTurn(&targetAngle);
				}
				left_complete = 1;
				right_complete = 1;
			}

			if (setpoint_left - input_left <= 40) {
				input_left = 0;
				output_left = 0;
				setpoint_left = 0;
				setLeftPWM(0);
				left_complete = 1;
			}

			if (setpoint_right - input_right <= 40) {
				input_right = 0;
				output_right = 0;
				setpoint_right = 0;
				setRightPWM(0);
				right_complete = 1;
			}

			if (left_complete && right_complete) {
				toMove = 0;
				current_cmd = 0;
				if (cmdFinishFlag) {
					//HAL_UART_Transmit(&huart3, RpiBuffer, sizeof(RpiBuffer),
					//		10);
					cmdFinishFlag = 0;
				}
			}

			// drive the motor
			if (!left_complete)
				setLeftPWM(output_left);
			if (!right_complete)
				setRightPWM(output_right);

		}

		// restart the process
		encoder_A_count1 = (uint32_t) __HAL_TIM_GET_COUNTER(&htim2);
		encoder_B_count1 = (uint32_t) __HAL_TIM_GET_COUNTER(&htim3);
		osDelay(50);
	}

	/* USER CODE END chassisTask */
}

void HAL_TIM_PeriodElapsedCallback(TIM_HandleTypeDef *htim) {
	if (htim->Instance == TIM7) {
		HAL_IncTick();
	}
}

void Error_Handler(void) {
	__disable_irq();
	while (1) {
	}
}
